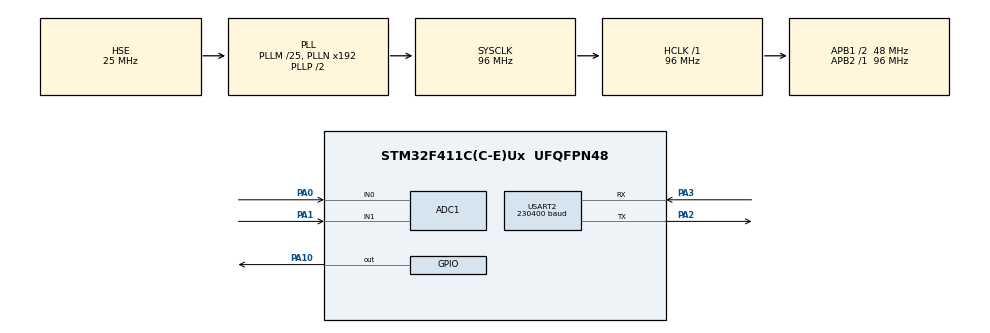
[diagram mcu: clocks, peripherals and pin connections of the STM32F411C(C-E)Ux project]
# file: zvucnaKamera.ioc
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ADC1.Channel-0\#ChannelRegularConversion=ADC_CHANNEL_0
ADC1.Channel-9\#ChannelRegularConversion=ADC_CHANNEL_1
ADC1.DMAContinuousRequests=ENABLE
ADC1.EOCSelection=ADC_EOC_SEQ_CONV
ADC1.ExternalTrigConv=ADC_EXTERNALTRIGCONV_T2_TRGO
ADC1.NbrOfConversion=2
ADC1.NbrOfConversionFlag=1
ADC1.Rank-0\#ChannelRegularConversion=1
ADC1.Rank-9\#ChannelRegularConversion=2
ADC1.SamplingTime-0\#ChannelRegularConversion=ADC_SAMPLETIME_3CYCLES
ADC1.SamplingTime-9\#ChannelRegularConversion=ADC_SAMPLETIME_3CYCLES
ADC1.ScanConvMode=ENABLE
ADC1.master=1
Dma.ADC1.1.Direction=DMA_PERIPH_TO_MEMORY
Dma.ADC1.1.FIFOMode=DMA_FIFOMODE_DISABLE
Dma.ADC1.1.Instance=DMA2_Stream0
Dma.ADC1.1.MemDataAlignment=DMA_MDATAALIGN_WORD
Dma.ADC1.1.MemInc=DMA_MINC_ENABLE
Dma.ADC1.1.Mode=DMA_CIRCULAR
Dma.ADC1.1.PeriphDataAlignment=DMA_PDATAALIGN_WORD
Dma.ADC1.1.PeriphInc=DMA_PINC_DISABLE
Dma.ADC1.1.Priority=DMA_PRIORITY_LOW
Dma.Request0=USART2_TX
Dma.Request1=ADC1
Dma.USART2_TX.0.Direction=DMA_MEMORY_TO_PERIPH
Dma.USART2_TX.0.FIFOMode=DMA_FIFOMODE_DISABLE
Dma.USART2_TX.0.Instance=DMA1_Stream6
Dma.USART2_TX.0.MemDataAlignment=DMA_MDATAALIGN_BYTE
Dma.USART2_TX.0.MemInc=DMA_MINC_ENABLE
Dma.USART2_TX.0.Mode=DMA_NORMAL
Dma.USART2_TX.0.PeriphDataAlignment=DMA_PDATAALIGN_BYTE
Dma.USART2_TX.0.PeriphInc=DMA_PINC_DISABLE
Dma.USART2_TX.0.Priority=DMA_PRIORITY_LOW
Mcu.Family=STM32F4
Mcu.Name=STM32F411C(C-E)Ux
Mcu.Package=UFQFPN48
NVIC.ADC_IRQn=true\:0\:0\:false\:false\:true\:true\:true\:true
NVIC.DMA1_Stream6_IRQn=true\:0\:0\:false\:false\:true\:false\:true\:true
NVIC.DMA2_Stream0_IRQn=true\:0\:0\:false\:false\:true\:false\:true\:true
NVIC.PriorityGroup=NVIC_PRIORITYGROUP_4
NVIC.TIM3_IRQn=true\:0\:0\:false\:false\:true\:true\:true\:true
PA0-WKUP.Signal=ADCx_IN0
PA1.Signal=ADCx_IN1
PA10.Signal=GPIO_Output
PA2.Mode=Asynchronous
PA2.Signal=USART2_TX
PA3.Mode=Asynchronous
PA3.Signal=USART2_RX
PH0\ -\ OSC_IN.Mode=HSE-External-Oscillator
PH0\ -\ OSC_IN.Signal=RCC_OSC_IN
PH1\ -\ OSC_OUT.Mode=HSE-External-Oscillator
PH1\ -\ OSC_OUT.Signal=RCC_OSC_OUT
ProjectManager.HeapSize=0x200
ProjectManager.StackSize=0x400
ProjectManager.TargetToolchain=STM32CubeIDE
RCC.48MHZClocksFreq_Value=48000000
RCC.AHBFreq_Value=96000000
RCC.APB1CLKDivider=RCC_HCLK_DIV2
RCC.APB1Freq_Value=48000000
RCC.APB1TimFreq_Value=96000000
RCC.APB2Freq_Value=96000000
RCC.APB2TimFreq_Value=96000000
RCC.CortexFreq_Value=96000000
RCC.HCLKFreq_Value=96000000
RCC.HSE_VALUE=25000000
RCC.HSI_VALUE=16000000
RCC.LSE_VALUE=32768
RCC.PLLM=25
RCC.PLLSourceVirtual=RCC_PLLSOURCE_HSE
RCC.SYSCLKFreq_VALUE=96000000
RCC.SYSCLKSource=RCC_SYSCLKSOURCE_PLLCLK
RCC.VCOOutputFreq_Value=192000000
SH.ADCx_IN0.0=ADC1_IN0,IN0
SH.ADCx_IN1.0=ADC1_IN1,IN1
TIM2.Channel-PWM\ Generation1\ No\ Output=TIM_CHANNEL_1
TIM2.Period=2000-1
TIM2.Prescaler=0
TIM2.TIM_MasterOutputTrigger=TIM_TRGO_UPDATE
TIM3.Channel-PWM\ Generation1\ No\ Output=TIM_CHANNEL_1
TIM3.Period=7325-1
TIM3.Prescaler=65529-1
USART2.BaudRate=230400
USART2.Mode=MODE_TX
USART2.VirtualMode=VM_ASYNC
VP_TIM2_VS_ClockSourceINT.Mode=Internal
VP_TIM2_VS_no_output1.Mode=PWM Generation1 No Output
VP_TIM3_VS_no_output1.Mode=PWM Generation1 No Output
board=custom

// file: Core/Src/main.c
/* USER CODE BEGIN Header */
/**
  ******************************************************************************
  * @file           : main.c
  * @brief          : Main program body
  ******************************************************************************
  * @attention
  *
  * Copyright (c) 2024 STMicroelectronics.
  * All rights reserved.
  *
  * This software is licensed under terms that can be found in the LICENSE file
  * in the root directory of this software component.
  * If no LICENSE file comes with this software, it is provided AS-IS.
  *
  ******************************************************************************
  */
/* USER CODE END Header */
#include "main.h"

/* USER CODE BEGIN Includes */
#include<stdio.h>
#include<string.h>
/* USER CODE END Includes */

/* USER CODE BEGIN PTD */
#define ADC_BUFFER_LENGTH 2
#define UART_BUFFER_LENGTH 4096
/* USER CODE END PTD */

ADC_HandleTypeDef hadc1;
DMA_HandleTypeDef hdma_adc1;

TIM_HandleTypeDef htim2;
TIM_HandleTypeDef htim3;

UART_HandleTypeDef huart2;
DMA_HandleTypeDef hdma_usart2_tx;

/* USER CODE BEGIN PV */
uint32_t adc_buffer[ADC_BUFFER_LENGTH];
typedef struct uart_data {
	uint16_t ch1_data;
	uint16_t ch2_data;
} uart_data;
uart_data uart_buffer[UART_BUFFER_LENGTH];
uint64_t uart_buffer_counter = 0;
uint8_t sampling_done = 0;
/* USER CODE END PV */

void SystemClock_Config(void);
static void MX_GPIO_Init(void);
static void MX_DMA_Init(void);
static void MX_USART2_UART_Init(void);
static void MX_ADC1_Init(void);
static void MX_TIM2_Init(void);
static void MX_TIM3_Init(void);

int main(void)
{

  /* MCU Configuration--------------------------------------------------------*/

  /* Reset of all peripherals, Initializes the Flash interface and the Systick. */
  HAL_Init();

  /* Configure the system clock */
  SystemClock_Config();

  /* Initialize all configured peripherals */
  MX_GPIO_Init();
  MX_DMA_Init();
  MX_USART2_UART_Init();
  MX_ADC1_Init();
  MX_TIM2_Init();
  MX_TIM3_Init();
  /* USER CODE BEGIN 2 */
  /*if (HAL_ADC_Start(&hadc1) != HAL_OK) {
       Error_Handler();
     }*/
  if (HAL_ADC_Start_DMA(&hadc1, (uint32_t*)adc_buffer, ADC_BUFFER_LENGTH) != HAL_OK) {
     Error_Handler();
   }
  if (HAL_TIM_PWM_Start(&htim2, TIM_CHANNEL_1) != HAL_OK) {
      Error_Handler();
    }
  if (HAL_TIM_PWM_Start_IT(&htim3, TIM_CHANNEL_1) != HAL_OK) {
        Error_Handler();
      }
  /* USER CODE END 2 */

  /* Infinite loop */
  while (1)
  {

    /* USER CODE BEGIN 3 */
	if (sampling_done == 1) {
	  uint8_t msg[32];

	  for (uart_buffer_counter = 0; uart_buffer_counter <= UART_BUFFER_LENGTH - 1; uart_buffer_counter++) {

			  // Ensure the buffer is large enough to hold the formatted string
			//int len = 0;
			//for (int i = 0; i < ADC_BUFFER_LENGTH; i++) {
			//  len += snprintf(msg + len, sizeof(msg) - len, "%lu ", adc_buffer[i]);
			//}

			//    msg[0] = (adc_buffer[0] >> 4);
			//    msg[1] = ((adc_buffer[0] & 0x000F) << 4) | ((adc_buffer[1] & 0x0FFF) >> 8);
			//    msg[2] = adc_buffer[1] & 0xFF;
			//    HAL_UART_Transmit(&huart2, msg, sizeof(msg), HAL_MAX_DELAY);

			sprintf(msg, "%d %d,", uart_buffer[uart_buffer_counter].ch1_data, uart_buffer[uart_buffer_counter].ch2_data);
			//snprintf(msg + len, sizeof(msg) - len, "\r\n");
			HAL_UART_Transmit(&huart2, (uint8_t*)msg, strlen(msg), HAL_MAX_DELAY);

	  }

	  sprintf(msg, "\r\n");
	  //snprintf(msg + len, sizeof(msg) - len, "\r\n");
	  HAL_UART_Transmit(&huart2, (uint8_t*)msg, strlen(msg), HAL_MAX_DELAY);

	  sampling_done = 0;

	  //HAL_Delay(2000);

	  //uart_buffer_counter = 0;

	  //HAL_TIM_PWM_Start(&htim2, TIM_CHANNEL_1);
	}
  }
  /* USER CODE END 3 */
}

void SystemClock_Config(void)
{
  RCC_OscInitTypeDef RCC_OscInitStruct = {0};
  RCC_ClkInitTypeDef RCC_ClkInitStruct = {0};

  /** Configure the main internal regulator output voltage
  */
  __HAL_RCC_PWR_CLK_ENABLE();
  __HAL_PWR_VOLTAGESCALING_CONFIG(PWR_REGULATOR_VOLTAGE_SCALE1);

  /** Initializes the RCC Oscillators according to the specified parameters
  * in the RCC_OscInitTypeDef structure.
  */
  RCC_OscInitStruct.OscillatorType = RCC_OSCILLATORTYPE_HSE;
  RCC_OscInitStruct.HSEState = RCC_HSE_ON;
  RCC_OscInitStruct.PLL.PLLState = RCC_PLL_ON;
  RCC_OscInitStruct.PLL.PLLSource = RCC_PLLSOURCE_HSE;
  RCC_OscInitStruct.PLL.PLLM = 25;
  RCC_OscInitStruct.PLL.PLLN = 192;
  RCC_OscInitStruct.PLL.PLLP = RCC_PLLP_DIV2;
  RCC_OscInitStruct.PLL.PLLQ = 4;
  if (HAL_RCC_OscConfig(&RCC_OscInitStruct) != HAL_OK)
  {
    Error_Handler();
  }

  /** Initializes the CPU, AHB and APB buses clocks
  */
  RCC_ClkInitStruct.ClockType = RCC_CLOCKTYPE_HCLK|RCC_CLOCKTYPE_SYSCLK
                              |RCC_CLOCKTYPE_PCLK1|RCC_CLOCKTYPE_PCLK2;
  RCC_ClkInitStruct.SYSCLKSource = RCC_SYSCLKSOURCE_PLLCLK;
  RCC_ClkInitStruct.AHBCLKDivider = RCC_SYSCLK_DIV1;
  RCC_ClkInitStruct.APB1CLKDivider = RCC_HCLK_DIV2;
  RCC_ClkInitStruct.APB2CLKDivider = RCC_HCLK_DIV1;

  if (HAL_RCC_ClockConfig(&RCC_ClkInitStruct, FLASH_LATENCY_3) != HAL_OK)
  {
    Error_Handler();
  }
}

static void MX_ADC1_Init(void)
{

  ADC_ChannelConfTypeDef sConfig = {0};

  /** Configure the global features of the ADC (Clock, Resolution, Data Alignment and number of conversion)
  */
  hadc1.Instance = ADC1;
  hadc1.Init.ClockPrescaler = ADC_CLOCK_SYNC_PCLK_DIV4;
  hadc1.Init.Resolution = ADC_RESOLUTION_12B;
  hadc1.Init.ScanConvMode = ENABLE;
  hadc1.Init.ContinuousConvMode = DISABLE;
  hadc1.Init.DiscontinuousConvMode = DISABLE;
  hadc1.Init.ExternalTrigConvEdge = ADC_EXTERNALTRIGCONVEDGE_RISING;
  hadc1.Init.ExternalTrigConv = ADC_EXTERNALTRIGCONV_T2_TRGO;
  hadc1.Init.DataAlign = ADC_DATAALIGN_RIGHT;
  hadc1.Init.NbrOfConversion = 2;
  hadc1.Init.DMAContinuousRequests = ENABLE;
  hadc1.Init.EOCSelection = ADC_EOC_SEQ_CONV;
  if (HAL_ADC_Init(&hadc1) != HAL_OK)
  {
    Error_Handler();
  }

  /** Configure for the selected ADC regular channel its corresponding rank in the sequencer and its sample time.
  */
  sConfig.Channel = ADC_CHANNEL_0;
  sConfig.Rank = 1;
  sConfig.SamplingTime = ADC_SAMPLETIME_3CYCLES;
  if (HAL_ADC_ConfigChannel(&hadc1, &sConfig) != HAL_OK)
  {
    Error_Handler();
  }

  /** Configure for the selected ADC regular channel its corresponding rank in the sequencer and its sample time.
  */
  sConfig.Channel = ADC_CHANNEL_1;
  sConfig.Rank = 2;
  if (HAL_ADC_ConfigChannel(&hadc1, &sConfig) != HAL_OK)
  {
    Error_Handler();
  }

}

static void MX_TIM2_Init(void)
{

  TIM_ClockConfigTypeDef sClockSourceConfig = {0};
  TIM_MasterConfigTypeDef sMasterConfig = {0};
  TIM_OC_InitTypeDef sConfigOC = {0};

  htim2.Instance = TIM2;
  htim2.Init.Prescaler = 0;
  htim2.Init.CounterMode = TIM_COUNTERMODE_UP;
  htim2.Init.Period = 2000-1;
  htim2.Init.ClockDivision = TIM_CLOCKDIVISION_DIV1;
  htim2.Init.AutoReloadPreload = TIM_AUTORELOAD_PRELOAD_DISABLE;
  if (HAL_TIM_Base_Init(&htim2) != HAL_OK)
  {
    Error_Handler();
  }
  sClockSourceConfig.ClockSource = TIM_CLOCKSOURCE_INTERNAL;
  if (HAL_TIM_ConfigClockSource(&htim2, &sClockSourceConfig) != HAL_OK)
  {
    Error_Handler();
  }
  if (HAL_TIM_PWM_Init(&htim2) != HAL_OK)
  {
    Error_Handler();
  }
  sMasterConfig.MasterOutputTrigger = TIM_TRGO_UPDATE;
  sMasterConfig.MasterSlaveMode = TIM_MASTERSLAVEMODE_DISABLE;
  if (HAL_TIMEx_MasterConfigSynchronization(&htim2, &sMasterConfig) != HAL_OK)
  {
    Error_Handler();
  }
  sConfigOC.OCMode = TIM_OCMODE_PWM1;
  sConfigOC.Pulse = 0;
  sConfigOC.OCPolarity = TIM_OCPOLARITY_HIGH;
  sConfigOC.OCFastMode = TIM_OCFAST_DISABLE;
  if (HAL_TIM_PWM_ConfigChannel(&htim2, &sConfigOC, TIM_CHANNEL_1) != HAL_OK)
  {
    Error_Handler();
  }

}

static void MX_TIM3_Init(void)
{

  TIM_MasterConfigTypeDef sMasterConfig = {0};
  TIM_OC_InitTypeDef sConfigOC = {0};

  htim3.Instance = TIM3;
  htim3.Init.Prescaler = 65529-1;
  htim3.Init.CounterMode = TIM_COUNTERMODE_UP;
  htim3.Init.Period = 7325-1;
  htim3.Init.ClockDivision = TIM_CLOCKDIVISION_DIV1;
  htim3.Init.AutoReloadPreload = TIM_AUTORELOAD_PRELOAD_DISABLE;
  if (HAL_TIM_PWM_Init(&htim3) != HAL_OK)
  {
    Error_Handler();
  }
  sMasterConfig.MasterOutputTrigger = TIM_TRGO_RESET;
  sMasterConfig.MasterSlaveMode = TIM_MASTERSLAVEMODE_DISABLE;
  if (HAL_TIMEx_MasterConfigSynchronization(&htim3, &sMasterConfig) != HAL_OK)
  {
    Error_Handler();
  }
  sConfigOC.OCMode = TIM_OCMODE_PWM1;
  sConfigOC.Pulse = 0;
  sConfigOC.OCPolarity = TIM_OCPOLARITY_HIGH;
  sConfigOC.OCFastMode = TIM_OCFAST_DISABLE;
  if (HAL_TIM_PWM_ConfigChannel(&htim3, &sConfigOC, TIM_CHANNEL_1) != HAL_OK)
  {
    Error_Handler();
  }

}

static void MX_USART2_UART_Init(void)
{

  huart2.Instance = USART2;
  huart2.Init.BaudRate = 230400;
  huart2.Init.WordLength = UART_WORDLENGTH_8B;
  huart2.Init.StopBits = UART_STOPBITS_1;
  huart2.Init.Parity = UART_PARITY_NONE;
  huart2.Init.Mode = UART_MODE_TX;
  huart2.Init.HwFlowCtl = UART_HWCONTROL_NONE;
  huart2.Init.OverSampling = UART_OVERSAMPLING_16;
  if (HAL_UART_Init(&huart2) != HAL_OK)
  {
    Error_Handler();
  }

}

static void MX_DMA_Init(void)
{

  /* DMA controller clock enable */
  __HAL_RCC_DMA1_CLK_ENABLE();
  __HAL_RCC_DMA2_CLK_ENABLE();

  /* DMA interrupt init */
  /* DMA1_Stream6_IRQn interrupt configuration */
  HAL_NVIC_SetPriority(DMA1_Stream6_IRQn, 0, 0);
  HAL_NVIC_EnableIRQ(DMA1_Stream6_IRQn);
  /* DMA2_Stream0_IRQn interrupt configuration */
  HAL_NVIC_SetPriority(DMA2_Stream0_IRQn, 0, 0);
  HAL_NVIC_EnableIRQ(DMA2_Stream0_IRQn);

}

static void MX_GPIO_Init(void)
{
  GPIO_InitTypeDef GPIO_InitStruct = {0};

  /* GPIO Ports Clock Enable */
  __HAL_RCC_GPIOH_CLK_ENABLE();
  __HAL_RCC_GPIOA_CLK_ENABLE();

  /*Configure GPIO pin Output Level */
  HAL_GPIO_WritePin(GPIOA, GPIO_PIN_10, GPIO_PIN_RESET);

  /*Configure GPIO pin : PA10 */
  GPIO_InitStruct.Pin = GPIO_PIN_10;
  GPIO_InitStruct.Mode = GPIO_MODE_OUTPUT_PP;
  GPIO_InitStruct.Pull = GPIO_NOPULL;
  GPIO_InitStruct.Speed = GPIO_SPEED_FREQ_LOW;
  HAL_GPIO_Init(GPIOA, &GPIO_InitStruct);

}

/* USER CODE BEGIN 4 */
void HAL_TIM_PWM_PulseFinishedCallback(TIM_HandleTypeDef *htim){
	uart_buffer_counter = 0;
	HAL_TIM_PWM_Start(&htim2, TIM_CHANNEL_1);

}

void HAL_ADC_ConvCpltCallback(ADC_HandleTypeDef* hadc) {
  if (hadc->Instance == ADC1) {

	  uart_buffer[uart_buffer_counter].ch1_data = adc_buffer[0];
	  uart_buffer[uart_buffer_counter].ch2_data = adc_buffer[1];

	  if (uart_buffer_counter < UART_BUFFER_LENGTH - 1) {
		  uart_buffer_counter++;
	  } else {

		  HAL_TIM_PWM_Stop(&htim2, TIM_CHANNEL_1);
		  sampling_done = 1;

	  }

    HAL_GPIO_TogglePin(GPIOA, GPIO_PIN_10);

  }
}

/* USER CODE END 4 */

void Error_Handler(void)
{
  __disable_irq();
  while (1)
  {
  }
}
